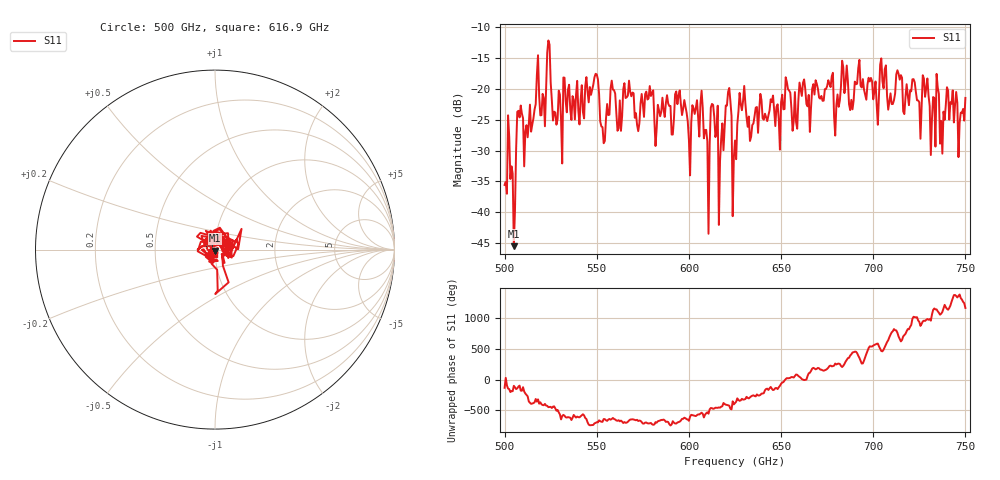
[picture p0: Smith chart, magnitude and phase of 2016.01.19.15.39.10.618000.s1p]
!Created with skrf (http://scikit-rf.org).
# GHz S RI R 50.0
!freq ReS11 ImS11
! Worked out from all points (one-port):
!   401 points, 500 GHz to 750 GHz, reference 50 ohm
!   lowest |S11| = -45.5 dB at 505 GHz (marker M1), VSWR 1.01, Z = 49.9 - j0.521 ohm
!   |S11| at or under -10 dB: start of sweep to end of sweep
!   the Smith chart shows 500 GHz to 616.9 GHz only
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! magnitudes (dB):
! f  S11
! 500 GHz  -35.6
! 503.1 GHz  -34.6
! 505 GHz  -45.5
! 508.1 GHz  -24.6
! 520.6 GHz  -20.8
! 523.8 GHz  -12.1
! 527.5 GHz  -23.8
! 531.2 GHz  -32.1
! 549.4 GHz  -17.5
! 553.1 GHz  -26.2
! 558.8 GHz  -20.1
! 562.5 GHz  -21.9
! 593.8 GHz  -22.5
! 600 GHz  -28.3
! 607.5 GHz  -23.1
! 610 GHz  -28.5
! 613.1 GHz  -22.6
! 617.5 GHz  -28.1
! 621.2 GHz  -20.5
! 625 GHz  -28.4
! 628.8 GHz  -23.4
! 633.1 GHz  -28.4
! 656.2 GHz  -26.8
! 687.5 GHz  -23.4
! 718.8 GHz  -21.1
! 728.1 GHz  -21.3
! 737.5 GHz  -30.5
! 750 GHz  -21.4
